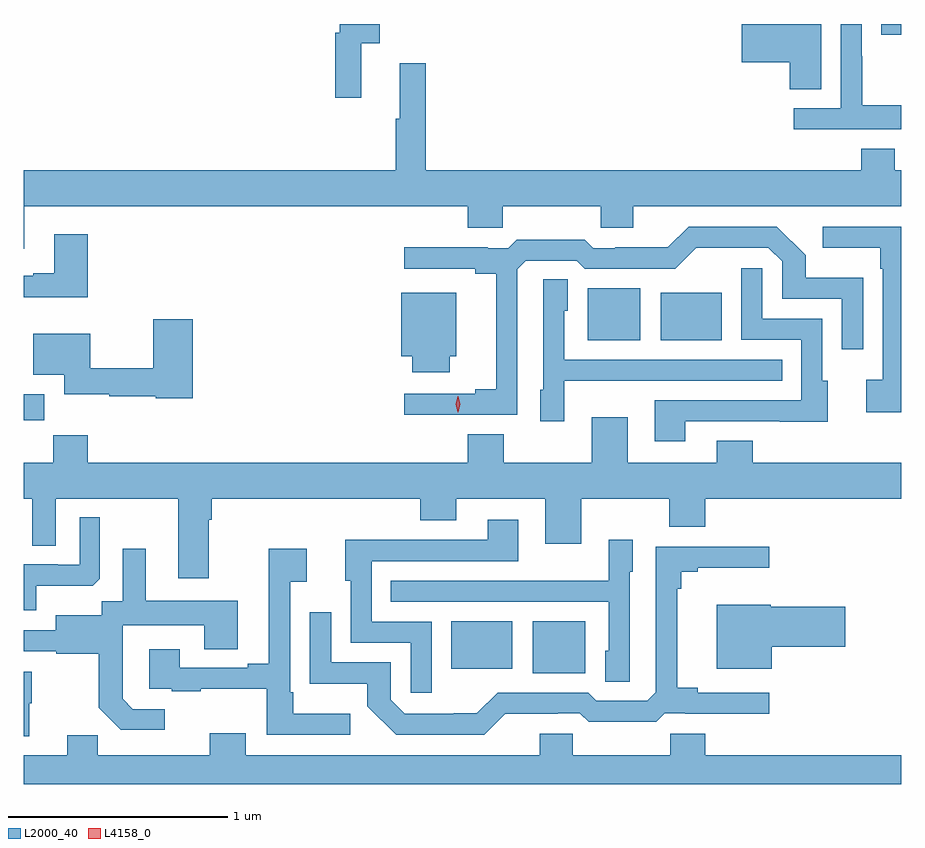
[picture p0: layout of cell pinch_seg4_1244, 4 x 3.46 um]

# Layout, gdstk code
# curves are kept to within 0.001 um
import gdstk
lib = gdstk.Library(unit=1e-6, precision=1e-09)
def R(c, l, rs):  # rectangles x0, y0, x1, y1
    for r in rs: c.add(gdstk.rectangle(r[:2], r[2:], *l))
def P(c, l, *ps):  # polygons
    for p in ps: c.add(gdstk.Polygon(p, *l))
L2000_40 = (2000, 40)
L4158_0 = (4158, 0)

pinch_seg4_1244 = lib.new_cell('pinch_seg4_1244')
R(pinch_seg4_1244, L2000_40, [(182.384,749.405,182.623,749.641), (182.012,749.426,182.29,749.641), (180.063,750.558,180.158,750.676), (182.633,750.923,182.872,751.159), (182.966,750.923,183.244,751.138), (183.971,752.313,184.063,752.363)])
P(pinch_seg4_1244, L2000_40, [(184.063,751.993),(183.885,751.993),(183.885,752.216),(183.882,752.216),(183.882,752.363),(183.786,752.363),(183.786,751.98),(183.573,751.98),(183.573,751.884),(184.063,751.884)],
  [(181.601,752.276),(181.687,752.276),(181.687,752.363),(181.503,752.363),(181.503,752.324),(181.483,752.324),(181.483,752.028),(181.601,752.028)],
  [(183.697,752.363),(183.336,752.363),(183.336,752.189),(183.554,752.189),(183.554,752.065),(183.697,752.065)],
  [(180.067,751.532),(182.087,751.532),(182.087,751.434),(182.247,751.434),(182.247,751.532),(182.692,751.532),(182.692,751.434),(182.842,751.434),(182.842,751.532),(184.063,751.532),(184.063,751.696),(184.033,751.696),(184.033,751.795),(183.881,751.795),(183.881,751.696),(181.895,751.696),(181.895,752.185),(181.778,752.185),(181.778,751.932),(181.759,751.932),(181.759,751.696),(180.063,751.696),(180.063,751.338),(180.067,751.338)],
  [(184.063,751.44),(183.705,751.44),(183.705,751.343),(183.966,751.343),(183.966,751.247),(183.978,751.247),(183.978,750.742),(183.903,750.742),(183.903,750.594),(184.063,750.594)],
  [(182.313,751.245),(182.352,751.284),(182.583,751.284),(182.619,751.248),(183.033,751.248),(183.128,751.343),(183.456,751.344),(183.519,751.281),(183.519,751.11),(183.792,751.11),(183.792,750.882),(183.888,750.882),(183.888,751.207),(183.627,751.207),(183.627,751.31),(183.496,751.44),(183.093,751.44),(182.999,751.346),(182.758,751.346),(182.758,751.341),(182.658,751.341),(182.619,751.381),(182.311,751.381),(182.271,751.341),(182.177,751.341),(182.177,751.346),(181.797,751.346),(181.797,751.248),(182.12,751.248),(182.12,751.226),(182.216,751.226),(182.216,750.698),(182.12,750.698),(182.12,750.678),(181.797,750.678),(181.797,750.582),(182.313,750.582)],
  [(180.356,751.405),(180.203,751.405),(180.203,751.228),(180.107,751.228),(180.107,751.215),(180.063,751.215),(180.063,751.118),(180.356,751.118)],
  [(183.079,750.552),(183.509,750.552),(183.509,750.551),(183.727,750.551),(183.727,750.738),(183.702,750.738),(183.702,751.02),(183.429,751.02),(183.429,751.249),(183.333,751.249),(183.333,750.924),(183.606,750.924),(183.606,750.648),(182.939,750.648),(182.939,750.462),(183.079,750.462)],
  [(182.526,750.737),(182.843,750.737),(182.843,750.738),(183.521,750.738),(183.521,750.834),(182.526,750.834),(182.526,751.056),(182.542,751.056),(182.542,751.199),(182.43,751.199),(182.43,750.696),(182.417,750.696),(182.417,750.552),(182.526,750.552)],
  [(182.005,750.848),(182.035,750.848),(182.035,751.138),(181.784,751.138),(181.784,750.848),(181.835,750.848),(181.835,750.776),(182.005,750.776)],
  [(180.833,751.018),(180.655,751.018),(180.655,750.794),(180.366,750.794),(180.366,750.952),(180.107,750.952),(180.107,750.764),(180.248,750.764),(180.248,750.677),(180.454,750.677),(180.454,750.666),(180.666,750.666),(180.666,750.658),(180.833,750.658)],
  [(180.907,750.104),(180.92,750.104),(180.92,750.2),(181.871,750.2),(181.871,750.101),(182.035,750.101),(182.035,750.2),(182.441,750.2),(182.441,749.994),(182.605,749.994),(182.605,750.2),(183.005,750.2),(183.005,750.072),(183.169,750.072),(183.169,750.2),(184.063,750.2),(184.063,750.364),(183.385,750.364),(183.385,750.463),(183.221,750.463),(183.221,750.364),(182.815,750.364),(182.815,750.571),(182.651,750.571),(182.651,750.364),(182.251,750.364),(182.251,750.493),(182.087,750.493),(182.087,750.364),(180.356,750.364),(180.356,750.488),(180.199,750.488),(180.199,750.364),(180.063,750.364),(180.063,750.2),(180.102,750.2),(180.102,749.986),(180.21,749.986),(180.21,750.2),(180.767,750.2),(180.767,749.838),(180.907,749.838)],
  [(180.121,749.804),(180.379,749.804),(180.411,749.835),(180.411,750.115),(180.318,750.115),(180.318,749.898),(180.218,749.898),(180.218,749.901),(180.063,749.901),(180.063,749.691),(180.121,749.691)],
  [(181.923,749.64),(181.65,749.64),(181.65,749.916),(182.317,749.916),(182.317,750.103),(182.177,750.103),(182.177,750.012),(181.747,750.012),(181.747,750.014),(181.529,750.014),(181.529,749.826),(181.554,749.826),(181.554,749.544),(181.827,749.544),(181.827,749.316),(181.923,749.316)],
  [(182.826,749.868),(182.839,749.868),(182.839,750.013),(182.73,750.013),(182.73,749.827),(182.413,749.827),(182.413,749.826),(181.735,749.826),(181.735,749.73),(182.73,749.73),(182.73,749.508),(182.714,749.508),(182.714,749.365),(182.826,749.365)],
  [(182.258,749.219),(182.498,749.219),(182.498,749.223),(182.598,749.223),(182.638,749.184),(182.945,749.184),(182.985,749.223),(183.079,749.223),(183.079,749.219),(183.46,749.219),(183.46,749.316),(183.136,749.316),(183.136,749.339),(183.041,749.339),(183.041,749.789),(183.059,749.789),(183.059,749.866),(183.136,749.866),(183.136,749.885),(183.46,749.885),(183.46,749.982),(182.943,749.982),(182.943,749.319),(182.904,749.28),(182.673,749.28),(182.637,749.316),(182.223,749.316),(182.129,749.222),(182.024,749.222),(182.024,749.22),(181.8,749.22),(181.737,749.283),(181.737,749.454),(181.464,749.454),(181.464,749.683),(181.368,749.683),(181.368,749.357),(181.63,749.357),(181.63,749.255),(181.76,749.124),(182.163,749.124)],
  [(181.552,749.221),(181.291,749.221),(181.291,749.317),(181.278,749.317),(181.278,749.822),(181.354,749.822),(181.354,749.971),(181.181,749.971),(181.181,749.449),(181.085,749.449),(181.085,749.43),(180.775,749.43),(180.775,749.515),(180.635,749.515),(180.635,749.334),(180.739,749.334),(180.739,749.322),(180.871,749.322),(180.871,749.333),(181.17,749.333),(181.17,749.124),(181.552,749.124)],
  [(180.706,749.241),(180.561,749.241),(180.514,749.288),(180.514,749.383),(180.516,749.383),(180.516,749.624),(180.887,749.624),(180.887,749.515),(181.039,749.515),(181.039,749.734),(180.619,749.734),(180.619,749.971),(180.515,749.971),(180.515,749.732),(180.42,749.732),(180.42,749.668),(180.209,749.668),(180.209,749.601),(180.063,749.601),(180.063,749.505),(180.213,749.505),(180.213,749.493),(180.405,749.493),(180.405,749.247),(180.505,749.147),(180.706,749.147)],
  [(183.472,749.525),(183.808,749.525),(183.808,749.708),(183.468,749.708),(183.468,749.716),(183.221,749.716),(183.221,749.426),(183.472,749.426)],
  [(180.088,749.268),(180.1,749.268),(180.1,749.412),(180.063,749.412),(180.063,749.117),(180.088,749.117)],
  [(184.063,749.032),(183.17,749.032),(183.17,749.13),(183.01,749.13),(183.01,749.032),(182.565,749.032),(182.565,749.13),(182.414,749.13),(182.414,749.032),(181.075,749.032),(181.075,749.131),(180.911,749.131),(180.911,749.032),(180.401,749.032),(180.401,749.123),(180.263,749.123),(180.263,749.032),(180.063,749.032),(180.063,748.9),(184.063,748.9)])
P(pinch_seg4_1244, L4158_0, [(182.042,750.594),(182.042,750.595),(182.032,750.63),(182.042,750.666),(182.042,750.666),(182.043,750.666),(182.052,750.63),(182.043,750.595)])

lib.write_gds('pinch_seg4_1244.gds')
